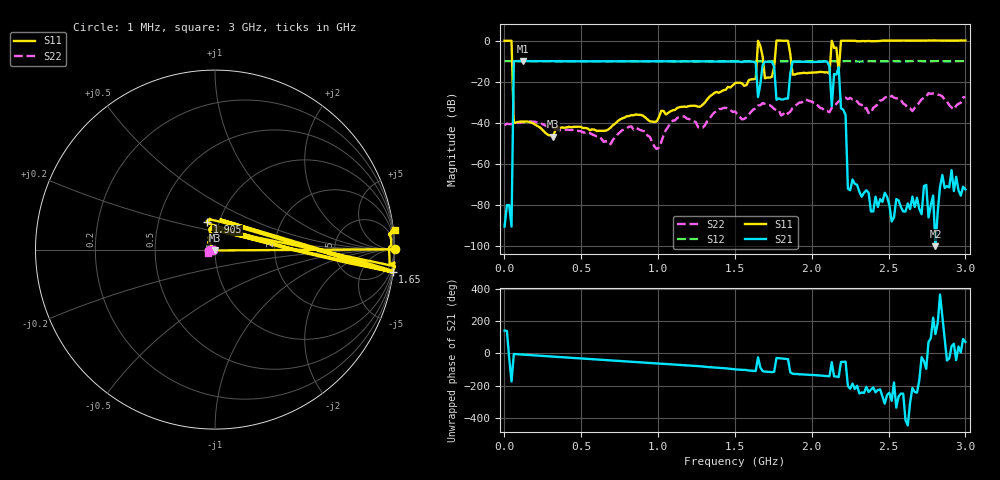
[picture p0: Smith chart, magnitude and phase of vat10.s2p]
# MHz S MA R 50
!  freq  S11  S21  S12  S22
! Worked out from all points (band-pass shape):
!   201 points, 1 MHz to 3 GHz, reference 50 ohm
!   highest |S21| = -9.91 dB at 121 MHz (marker M1); lowest = -100.0 dB at 2.805 GHz (marker M2)
!   |S21| within 3 dB of the highest: 60.42 MHz to 1.637 GHz (1.577 GHz wide, 186 % of centre); 1.868 GHz to 2.116 GHz (247.2 MHz wide, 12.4 % of centre)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
!   lowest |S11| = -46.8 dB at 315.9 MHz (marker M3), VSWR 1.01, Z = 49.7 - j0.371 ohm
!   |S11| at or under -10 dB: 49.74 MHz to 1.642 GHz (1.593 GHz wide, 188 % of centre); 1.684 GHz to 1.759 GHz (74.93 MHz wide, 4.35 % of centre); 1.866 GHz to 2.121 GHz (255.3 MHz wide, 12.8 % of centre)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
!   |S22| runs from -52.7 to -25.6 dB; largest |S21 - S12| = 0.32
!   S11 on the Smith chart (normalised r, x): 1 MHz: open; 1.65 GHz: 0, -16; 1.905 GHz: 0.88, +0.27; 3 GHz: -2, +18
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1  1 0.0  3e-05 141.8  0.319 -0.4  0.00884 179.1
45.985  1 0.1  3e-05 -174.7  0.3187 -3.3  0.0094 -167.6
60.98  0.01005 -151.2  0.319 -4.1  0.3189 -4.2  0.00971 -164.9
120.96  0.01078 -132.3  0.3194 -7.9  0.319 -8.0  0.01046 -153.0
315.895  0.00459 -125.7  0.3179 -20.0  0.3176 -20.2  0.0073 -148.5
510.83  0.00751 -144.0  0.3165 -32.4  0.3175 -32.4  0.00589 -154.4
1005.665  0.01393 171.5  0.3151 -63.5  0.3164 -63.0  0.00253 175.0
1500.5  0.09304 108.2  0.311 -99.3  0.3174 -93.3  0.01915 147.2
1635.455  0.1181 104.9  0.2912 -109.5  0.3165 -102.8  0.02232 -170.3
1650.45  0.9972 -7.2  0.04247 -24.8  0.3168 -103.2  0.02652 -175.0
1695.435  0.122 103.3  0.3101 -113.4  0.3158 -106.0  0.02911 172.2
1770.41  1.007 -5.3  0.03652 -28.8  0.3174 -110.5  0.02058 152.5
1905.365  0.1582 106.0  0.3071 -128.2  0.3173 -118.3  0.02834 -167.9
2010.33  0.1682 99.7  0.3041 -134.3  0.316 -124.8  0.03152 164.9
2115.295  0.1578 78.4  0.2351 -142.4  0.3196 -132.6  0.01824 -171.2
2130.29  0.9973 -7.4  0.02566 -54.4  0.3181 -132.9  0.02326 -151.6
2175.275  0.1713 79.9  0.2279 -147.1  0.315 -135.0  0.03342 -161.4
2220.26  1.002 -6.1  0.01556 -52.2  0.318 -137.7  0.04102 -168.5
2235.255  1.001 -4.1  0.00025 157.8  0.3201 -139.7  0.03796 -176.2
2505.165  1.01 5.9  0.0001 115.3  0.318 -155.7  0.04164 -171.2
2805.065  1.013 6.1  1e-05 119.1  0.3199 -174.6  0.05141 -179.0
3000  1.011 6.2  0.00024 70.9  0.3192 173.0  0.04293 -150.8
